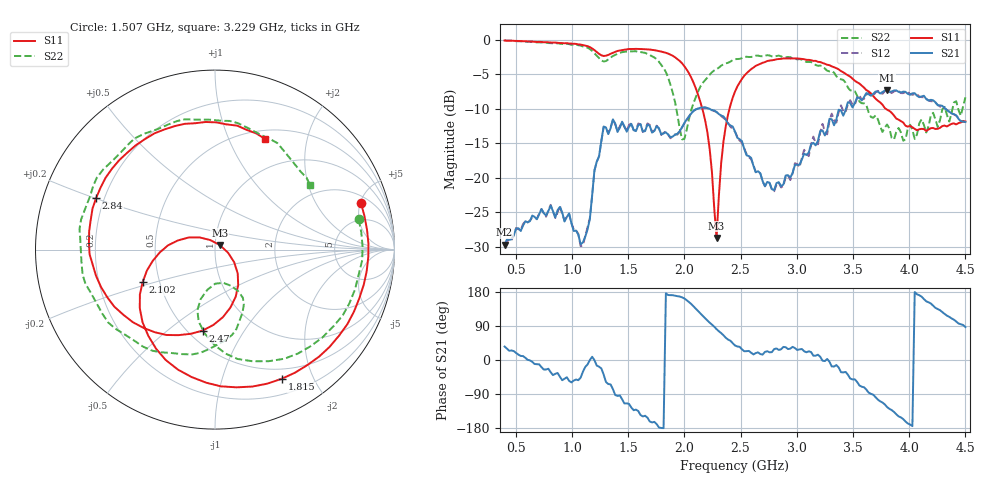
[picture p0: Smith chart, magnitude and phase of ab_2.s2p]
! Anritsu VNA Master:  Model: MS2036C/2
! SN:  2120025
! /bd0/ab_2.s2p
! Existing Calibration Information:
! TYPE:  Current Settings,  Active Cal Settings
! TIME:  03/02/2026 02:53:09 AM,  03/02/2026 02:47:23 AM
! INTERNAL TEMP:  52.8 C,  51.8 C
! # POINTS:  201,  201
! START FREQ:  400.000 MHz,  400.000 MHz
! STOP FREQ:  4.500 GHz,  4.500 GHz
! SOURCE POWER:  High,  High
! IFBW:  10 kHz,  10 kHz
! AVG FACTOR:  1 ,  1
! REF PLANE 1:  0 mm,  0 mm
! REF PLANE 2:  0 mm,  0 mm
! CAL TYPE:  Full 2 Port,  Full 2 Port
! CAL METHOD:  SOLT,  SOLT
! CAL LINE TYPE:  Coax,  Coax
! DUT PORT 1:  N-Conn(M),  N-Conn(M)
! DUT PORT 2:  N-Conn(M),  N-Conn(M)
! CAL STATUS:  OK: Accuracy High,  --
# GHZ S DB R 50.0
! FREQ.GHZ  S11DB  S11A  S21DB  S21A  S12DB  S12A  S22DB  S22A
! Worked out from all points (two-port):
!   201 points, 400 MHz to 4.5 GHz, reference 50 ohm
!   highest |S21| = -7.32 dB at 3.803 GHz (marker M1); lowest = -29.7 dB at 400 MHz (marker M2)
!   |S21| within 3 dB of the highest: 2.08 GHz to 2.271 GHz (190.8 MHz wide, 8.77 % of centre); 3.431 GHz to 4.347 GHz (915.5 MHz wide, 23.5 % of centre)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
!   lowest |S11| = -28.7 dB at 2.286 GHz (marker M3), VSWR 1.08, Z = 52.6 + j2.73 ohm
!   |S11| at or under -10 dB: 2.159 GHz to 2.401 GHz (242.5 MHz wide, 10.6 % of centre); 3.791 GHz to end of sweep
!   |S22| runs from -14.6 to -0.1 dB; largest |S21 - S12| = 0.033
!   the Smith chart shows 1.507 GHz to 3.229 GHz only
!   S11 on the Smith chart (normalised r, x): 1.507 GHz: 2.60, +5.05; 1.815 GHz: 0.38, -1.58; 2.102 GHz: 0.40, -0.18; 2.47 GHz: 0.59, -0.67; 2.84 GHz: 0.17, +0.20; 3.229 GHz: 0.60, +1.37
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0.4  -0.15 -88.3  -29.66 35.5  -29.86 36.0  -0.14 -89.5
0.7485  -0.39 -168.4  -25.09 -25.2  -25.11 -26.1  -0.44 -171.7
1.097  -0.80 107.0  -29.33 -30.7  -29.74 -27.7  -1.01 100.4
1.2815  -2.38 66.7  -12.58 -38.8  -12.61 -38.5  -3.17 61.4
1.507  -1.37 17.9  -12.62 -115.8  -12.36 -115.8  -1.74 11.9
1.7735  -1.68 -51.2  -12.88 -178.0  -12.86 -179.3  -3.23 -64.4
1.8145  -1.83 -62.7  -13.58 -179.8  -13.51 -179.7  -4.12 -78.3
1.9785  -3.43 -114.1  -12.72 165.3  -12.69 166.0  -14.44 -89.5
2.1015  -7.08 -155.7  -10.09 135.2  -10.12 135.3  -8.32 -66.5
2.204  -13.40 166.3  -9.91 104.5  -9.93 104.4  -5.52 -88.6
2.286  -28.68 44.7  -10.48 81.4  -10.49 81.2  -4.28 -107.7
2.3475  -14.74 -46.3  -11.12 65.2  -11.34 65.0  -3.57 -121.8
2.45  -7.54 -91.2  -13.31 38.3  -13.32 39.9  -2.85 -145.7
2.4705  -6.81 -98.7  -14.20 35.7  -14.04 35.3  -2.83 -150.4
2.8395  -2.83 156.6  -20.62 26.5  -20.71 26.8  -2.33 125.9
3.147  -3.09 84.9  -14.94 11.4  -14.04 14.8  -3.47 55.1
3.229  -3.39 65.7  -13.14 -1.8  -12.20 1.6  -3.88 34.3
3.4955  -5.67 3.0  -9.83 -51.4  -9.41 -54.2  -7.35 -41.1
3.803  -10.15 -66.1  -7.32 -124.1  -7.31 -122.8  -12.29 -118.4
3.8235  -10.32 -70.0  -7.59 -128.8  -7.53 -129.9  -12.84 -116.9
4.049  -12.93 -118.7  -7.77 179.3  -7.88 -179.7  -14.37 -167.4
4.5  -11.84 131.1  -11.93 87.0  -11.94 87.9  -8.36 93.8
